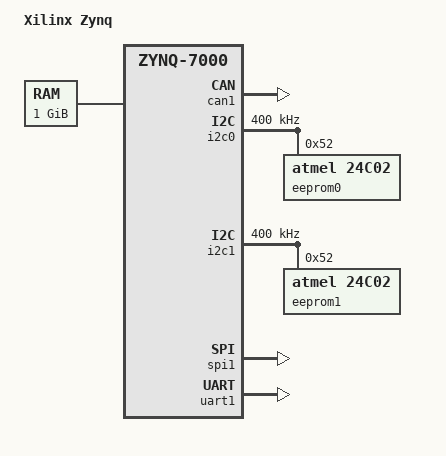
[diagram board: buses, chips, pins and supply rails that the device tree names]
// SPDX-License-Identifier: GPL-2.0+
/*
 * Xilinx ZC770 XM012 board DTS
 *
 * Copyright (C) 2013-2018 Xilinx, Inc.
 */
/dts-v1/;
#include "zynq-7000.dtsi"

/ {
	compatible = "xlnx,zynq-zc770-xm012", "xlnx,zynq-7000";
	model = "Xilinx Zynq";

	aliases {
		i2c0 = &i2c0;
		i2c1 = &i2c1;
		serial0 = &uart1;
		spi0 = &spi1;
	};

	chosen {
		bootargs = "";
		stdout-path = "serial0:115200n8";
	};

	memory@0 {
		device_type = "memory";
		reg = <0x0 0x40000000>;
	};
};

&can1 {
	status = "okay";
};

&i2c0 {
	status = "okay";
	clock-frequency = <400000>;

	eeprom0: eeprom@52 {
		compatible = "atmel,24c02";
		reg = <0x52>;
	};
};

&i2c1 {
	status = "okay";
	clock-frequency = <400000>;

	eeprom1: eeprom@52 {
		compatible = "atmel,24c02";
		reg = <0x52>;
	};
};

&spi1 {
	status = "okay";
	num-cs = <4>;
	is-decoded-cs = <0>;
};

&uart1 {
	status = "okay";
};
